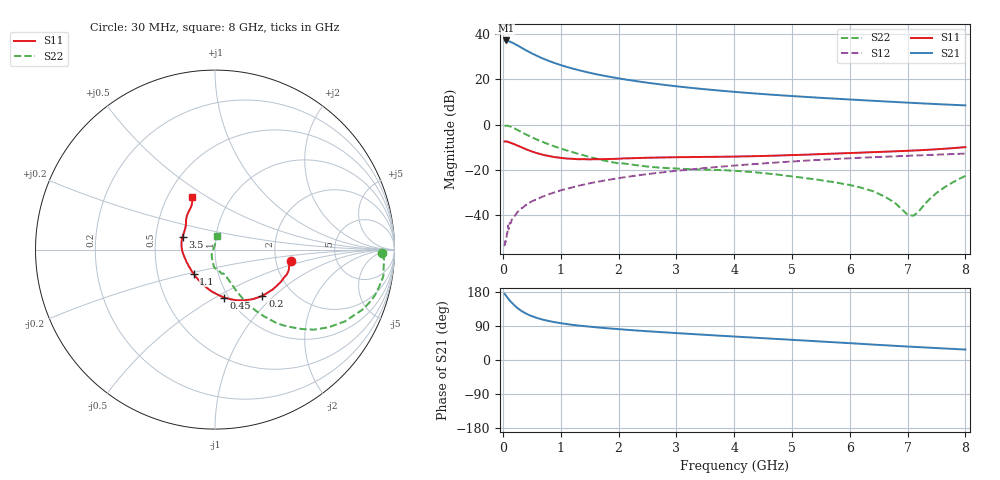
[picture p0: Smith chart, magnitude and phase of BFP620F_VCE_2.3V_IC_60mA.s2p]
! Infineon Technologies  Discrete & RF Semiconductors
! BFP620F
! VCE =  2.3 V,  IC =  60 mA
! Common Emitter S-Parameters:  Dec 2014
# GHz  S  MA  R  50
!  f  S11  S21  S12  S22
! GHz  MAG  ANG  MAG  ANG  MAG  ANG  MAG  ANG
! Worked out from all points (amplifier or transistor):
!   95 points, 30 MHz to 8 GHz, reference 50 ohm
!   highest |S21| = 37.1 dB at 50 MHz (marker M1)
!   |S21| within 3 dB of that: start of sweep to 308.2 MHz
!   unconditionally stable (mu >= 1): 1.757 GHz to end of sweep
!   at 300 MHz: K = 0.53, MSG = 35.7 dB, |S12| = -37.2 dB
!   at 3.3 GHz: K = 1.04, MAG = 16.7 dB, |S12| = -19.6 dB
!   at 8 GHz: K = 1.05, MAG = 9.2 dB, |S12| = -12.8 dB
!   S11 on the Smith chart (normalised r, x): 30 MHz: 2.42, -0.37; 200 MHz: 1.42, -0.85; 450 MHz: 0.95, -0.55; 1.1 GHz: 0.76, -0.21; 3.5 GHz: 0.69, +0.10; 8 GHz: 0.66, +0.43
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0.03  0.4259 -8.4  71.5 174.8  0.0021 97.7  0.933 -1.3
0.05  0.4233 -12.5  71.59 170.7  0.0026 117.6  0.9442 -5.1
0.08  0.4218 -19.6  70.58 164.5  0.0042 83.9  0.9435 -10.9
0.12  0.4028 -28.4  67.5 156.9  0.0068 73.8  0.9163 -17.7
0.15  0.3908 -34.7  65.16 151.9  0.0079 81.2  0.8854 -22.3
0.2  0.3694 -44.3  60.45 144.2  0.0096 76.1  0.8272 -28.9
0.25  0.3473 -52.7  55.86 137.4  0.0117 75.7  0.7675 -34.3
0.3  0.3259 -60.2  51.4 131.7  0.0138 74.2  0.7104 -38.9
0.35  0.3054 -67.5  47.19 126.8  0.015 73.5  0.6565 -42.4
0.45  0.272 -79.2  40.22 118.9  0.0186 72.0  0.5666 -48.1
0.6  0.2334 -94.9  32.29 110.4  0.0232 72.5  0.4614 -53.7
0.7  0.2156 -103.3  28.38 106.1  0.0263 72.0  0.4093 -56.3
0.9  0.1921 -118.6  22.66 99.7  0.0324 71.8  0.3295 -59.8
1.1  0.1791 -131.6  18.76 94.9  0.0386 71.7  0.2713 -62.1
1.4  0.1735 -147.6  14.87 89.5  0.0478 70.6  0.2103 -64.5
1.9  0.1756 -167.3  11.01 82.6  0.0629 68.8  0.1477 -69.4
2.7  0.1886 172.4  7.777 73.9  0.0871 64.4  0.1132 -82.2
3.5  0.1947 158.2  6.02 66.4  0.1106 59.6  0.1023 -90.4
4.1  0.199 149.2  5.158 61.1  0.1282 56.0  0.0944 -93.8
5.4  0.222 136.7  3.967 49.7  0.1653 47.4  0.0624 -103.1
6.7  0.2558 125.3  3.199 38.1  0.1986 38.3  0.022 -136.5
8  0.3198 113.6  2.656 27.5  0.2301 29.5  0.074 83.0
